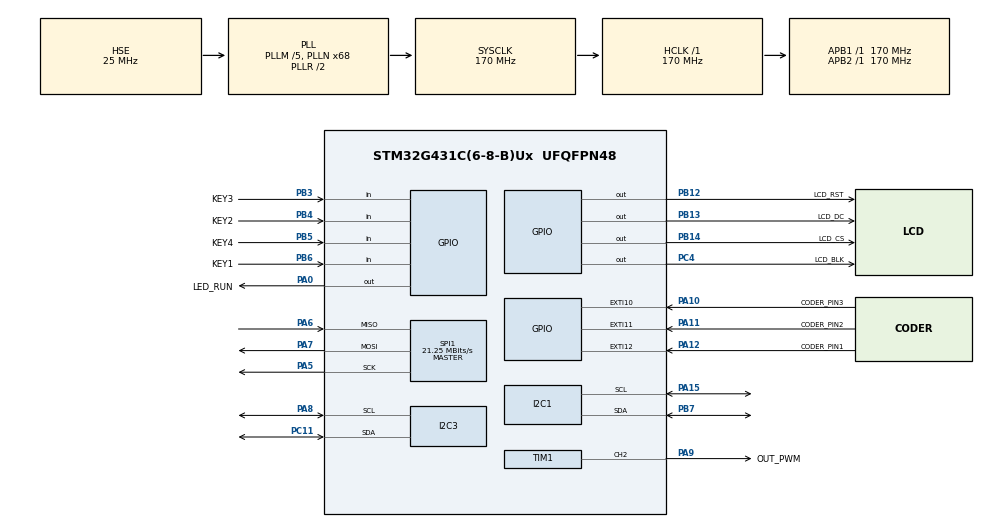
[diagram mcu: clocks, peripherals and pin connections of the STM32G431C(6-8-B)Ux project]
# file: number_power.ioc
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Dma.I2C1_RX.4.Direction=DMA_PERIPH_TO_MEMORY
Dma.I2C1_RX.4.EventEnable=DISABLE
Dma.I2C1_RX.4.Instance=DMA1_Channel5
Dma.I2C1_RX.4.MemDataAlignment=DMA_MDATAALIGN_BYTE
Dma.I2C1_RX.4.MemInc=DMA_MINC_ENABLE
Dma.I2C1_RX.4.Mode=DMA_NORMAL
Dma.I2C1_RX.4.PeriphDataAlignment=DMA_PDATAALIGN_BYTE
Dma.I2C1_RX.4.PeriphInc=DMA_PINC_DISABLE
Dma.I2C1_RX.4.Polarity=HAL_DMAMUX_REQ_GEN_RISING
Dma.I2C1_RX.4.Priority=DMA_PRIORITY_LOW
Dma.I2C1_RX.4.RequestNumber=1
Dma.I2C1_RX.4.SignalID=NONE
Dma.I2C1_RX.4.SyncEnable=DISABLE
Dma.I2C1_RX.4.SyncPolarity=HAL_DMAMUX_SYNC_NO_EVENT
Dma.I2C1_RX.4.SyncRequestNumber=1
Dma.I2C1_RX.4.SyncSignalID=NONE
Dma.I2C1_TX.5.Direction=DMA_MEMORY_TO_PERIPH
Dma.I2C1_TX.5.EventEnable=DISABLE
Dma.I2C1_TX.5.Instance=DMA1_Channel6
Dma.I2C1_TX.5.MemDataAlignment=DMA_MDATAALIGN_BYTE
Dma.I2C1_TX.5.MemInc=DMA_MINC_ENABLE
Dma.I2C1_TX.5.Mode=DMA_NORMAL
Dma.I2C1_TX.5.PeriphDataAlignment=DMA_PDATAALIGN_BYTE
Dma.I2C1_TX.5.PeriphInc=DMA_PINC_DISABLE
Dma.I2C1_TX.5.Polarity=HAL_DMAMUX_REQ_GEN_RISING
Dma.I2C1_TX.5.Priority=DMA_PRIORITY_LOW
Dma.I2C1_TX.5.RequestNumber=1
Dma.I2C1_TX.5.SignalID=NONE
Dma.I2C1_TX.5.SyncEnable=DISABLE
Dma.I2C1_TX.5.SyncPolarity=HAL_DMAMUX_SYNC_NO_EVENT
Dma.I2C1_TX.5.SyncRequestNumber=1
Dma.I2C1_TX.5.SyncSignalID=NONE
Dma.I2C3_RX.2.Direction=DMA_PERIPH_TO_MEMORY
Dma.I2C3_RX.2.EventEnable=DISABLE
Dma.I2C3_RX.2.Instance=DMA1_Channel3
Dma.I2C3_RX.2.MemDataAlignment=DMA_MDATAALIGN_BYTE
Dma.I2C3_RX.2.MemInc=DMA_MINC_ENABLE
Dma.I2C3_RX.2.Mode=DMA_NORMAL
Dma.I2C3_RX.2.PeriphDataAlignment=DMA_PDATAALIGN_BYTE
Dma.I2C3_RX.2.PeriphInc=DMA_PINC_DISABLE
Dma.I2C3_RX.2.Polarity=HAL_DMAMUX_REQ_GEN_RISING
Dma.I2C3_RX.2.Priority=DMA_PRIORITY_LOW
Dma.I2C3_RX.2.RequestNumber=1
Dma.I2C3_RX.2.SignalID=NONE
Dma.I2C3_RX.2.SyncEnable=DISABLE
Dma.I2C3_RX.2.SyncPolarity=HAL_DMAMUX_SYNC_NO_EVENT
Dma.I2C3_RX.2.SyncRequestNumber=1
Dma.I2C3_RX.2.SyncSignalID=NONE
Dma.I2C3_TX.3.Direction=DMA_MEMORY_TO_PERIPH
Dma.I2C3_TX.3.EventEnable=DISABLE
Dma.I2C3_TX.3.Instance=DMA1_Channel4
Dma.I2C3_TX.3.MemDataAlignment=DMA_MDATAALIGN_BYTE
Dma.I2C3_TX.3.MemInc=DMA_MINC_ENABLE
Dma.I2C3_TX.3.Mode=DMA_NORMAL
Dma.I2C3_TX.3.PeriphDataAlignment=DMA_PDATAALIGN_BYTE
Dma.I2C3_TX.3.PeriphInc=DMA_PINC_DISABLE
Dma.I2C3_TX.3.Polarity=HAL_DMAMUX_REQ_GEN_RISING
Dma.I2C3_TX.3.Priority=DMA_PRIORITY_LOW
Dma.I2C3_TX.3.RequestNumber=1
Dma.I2C3_TX.3.SignalID=NONE
Dma.I2C3_TX.3.SyncEnable=DISABLE
Dma.I2C3_TX.3.SyncPolarity=HAL_DMAMUX_SYNC_NO_EVENT
Dma.I2C3_TX.3.SyncRequestNumber=1
Dma.I2C3_TX.3.SyncSignalID=NONE
Dma.Request0=SPI1_RX
Dma.Request1=SPI1_TX
Dma.Request2=I2C3_RX
Dma.Request3=I2C3_TX
Dma.Request4=I2C1_RX
Dma.Request5=I2C1_TX
Dma.SPI1_RX.0.Direction=DMA_PERIPH_TO_MEMORY
Dma.SPI1_RX.0.EventEnable=DISABLE
Dma.SPI1_RX.0.Instance=DMA1_Channel1
Dma.SPI1_RX.0.MemDataAlignment=DMA_MDATAALIGN_BYTE
Dma.SPI1_RX.0.MemInc=DMA_MINC_ENABLE
Dma.SPI1_RX.0.Mode=DMA_NORMAL
Dma.SPI1_RX.0.PeriphDataAlignment=DMA_PDATAALIGN_BYTE
Dma.SPI1_RX.0.PeriphInc=DMA_PINC_DISABLE
Dma.SPI1_RX.0.Polarity=HAL_DMAMUX_REQ_GEN_RISING
Dma.SPI1_RX.0.Priority=DMA_PRIORITY_LOW
Dma.SPI1_RX.0.RequestNumber=1
Dma.SPI1_RX.0.SignalID=NONE
Dma.SPI1_RX.0.SyncEnable=DISABLE
Dma.SPI1_RX.0.SyncPolarity=HAL_DMAMUX_SYNC_NO_EVENT
Dma.SPI1_RX.0.SyncRequestNumber=1
Dma.SPI1_RX.0.SyncSignalID=NONE
Dma.SPI1_TX.1.Direction=DMA_MEMORY_TO_PERIPH
Dma.SPI1_TX.1.EventEnable=DISABLE
Dma.SPI1_TX.1.Instance=DMA1_Channel2
Dma.SPI1_TX.1.MemDataAlignment=DMA_MDATAALIGN_BYTE
Dma.SPI1_TX.1.MemInc=DMA_MINC_ENABLE
Dma.SPI1_TX.1.Mode=DMA_NORMAL
Dma.SPI1_TX.1.PeriphDataAlignment=DMA_PDATAALIGN_BYTE
Dma.SPI1_TX.1.PeriphInc=DMA_PINC_DISABLE
Dma.SPI1_TX.1.Polarity=HAL_DMAMUX_REQ_GEN_RISING
Dma.SPI1_TX.1.Priority=DMA_PRIORITY_LOW
Dma.SPI1_TX.1.RequestNumber=1
Dma.SPI1_TX.1.SignalID=NONE
Dma.SPI1_TX.1.SyncEnable=DISABLE
Dma.SPI1_TX.1.SyncPolarity=HAL_DMAMUX_SYNC_NO_EVENT
Dma.SPI1_TX.1.SyncRequestNumber=1
Dma.SPI1_TX.1.SyncSignalID=NONE
FREERTOS.Tasks01=defaultTask,0,128,StartDefaultTask,Default,NULL,Dynamic,NULL,NULL;myTask02,-3,128,StartTask02,Default,NULL,Dynamic,NULL,NULL
I2C1.Timing=0x40B285C2
I2C3.Timing=0x40B285C2
Mcu.Family=STM32G4
Mcu.Name=STM32G431C(6-8-B)Ux
Mcu.Package=UFQFPN48
NVIC.DMA1_Channel1_IRQn=true\:5\:0\:false\:false\:true\:true\:false\:true\:true
NVIC.DMA1_Channel2_IRQn=true\:5\:0\:false\:false\:true\:true\:false\:true\:true
NVIC.DMA1_Channel3_IRQn=true\:5\:0\:false\:false\:true\:true\:false\:true\:true
NVIC.DMA1_Channel4_IRQn=true\:5\:0\:false\:false\:true\:true\:false\:true\:true
NVIC.DMA1_Channel5_IRQn=true\:5\:0\:false\:false\:true\:true\:false\:true\:true
NVIC.DMA1_Channel6_IRQn=true\:5\:0\:false\:false\:true\:true\:false\:true\:true
NVIC.PriorityGroup=NVIC_PRIORITYGROUP_4
NVIC.TIM6_DAC_IRQn=true\:5\:0\:false\:false\:true\:true\:true\:true\:true
NVIC.TIM7_IRQn=true\:15\:0\:false\:false\:true\:false\:false\:true\:true
NVIC.TimeBase=TIM7_IRQn
NVIC.TimeBaseIP=TIM7
PA0.GPIO_Label=LED_RUN
PA0.Signal=GPIO_Output
PA10.GPIO_Label=CODER_PIN3
PA10.GPIO_ModeDefaultEXTI=GPIO_MODE_IT_FALLING
PA10.GPIO_PuPd=GPIO_PULLUP
PA10.Signal=GPXTI10
PA11.GPIO_Label=CODER_PIN2
PA11.GPIO_ModeDefaultEXTI=GPIO_MODE_IT_FALLING
PA11.GPIO_PuPd=GPIO_PULLUP
PA11.Signal=GPXTI11
PA12.GPIO_Label=CODER_PIN1
PA12.GPIO_ModeDefaultEXTI=GPIO_MODE_IT_FALLING
PA12.GPIO_PuPd=GPIO_PULLUP
PA12.Signal=GPXTI12
PA13.Mode=Serial_Wire
PA13.Signal=SYS_JTMS-SWDIO
PA14.Mode=Serial_Wire
PA14.Signal=SYS_JTCK-SWCLK
PA15.Mode=I2C
PA15.Signal=I2C1_SCL
PA5.Mode=Full_Duplex_Master
PA5.Signal=SPI1_SCK
PA6.Mode=Full_Duplex_Master
PA6.Signal=SPI1_MISO
PA7.Mode=Full_Duplex_Master
PA7.Signal=SPI1_MOSI
PA8.Mode=I2C
PA8.Signal=I2C3_SCL
PA9.GPIO_Label=OUT_PWM
PA9.Signal=S_TIM1_CH2
PB12.GPIO_Label=LCD_RST
PB12.Signal=GPIO_Output
PB13.GPIO_Label=LCD_DC
PB13.Signal=GPIO_Output
PB14.GPIO_Label=LCD_CS
PB14.Signal=GPIO_Output
PB3.GPIO_Label=KEY3
PB3.GPIO_PuPd=GPIO_PULLUP
PB3.Signal=GPIO_Input
PB4.GPIO_Label=KEY2
PB4.GPIO_PuPd=GPIO_PULLUP
PB4.Signal=GPIO_Input
PB5.GPIO_Label=KEY4
PB5.GPIO_PuPd=GPIO_PULLUP
PB5.Signal=GPIO_Input
PB6.GPIO_Label=KEY1
PB6.GPIO_PuPd=GPIO_PULLUP
PB6.Signal=GPIO_Input
PB7.Mode=I2C
PB7.Signal=I2C1_SDA
PC11.Mode=I2C
PC11.Signal=I2C3_SDA
PC4.GPIO_Label=LCD_BLK
PC4.Signal=GPIO_Output
PF0-OSC_IN.Mode=HSE-External-Oscillator
PF0-OSC_IN.Signal=RCC_OSC_IN
PF1-OSC_OUT.Mode=HSE-External-Oscillator
PF1-OSC_OUT.Signal=RCC_OSC_OUT
ProjectManager.HeapSize=0x800
ProjectManager.StackSize=0x400
ProjectManager.TargetToolchain=MDK-ARM V5.32
RCC.ADC12Freq_Value=170000000
RCC.AHBFreq_Value=170000000
RCC.APB1Freq_Value=170000000
RCC.APB1TimFreq_Value=170000000
RCC.APB2Freq_Value=170000000
RCC.APB2TimFreq_Value=170000000
RCC.CortexFreq_Value=170000000
RCC.EXTERNAL_CLOCK_VALUE=12288000
RCC.HCLKFreq_Value=170000000
RCC.HSE_VALUE=25000000
RCC.HSI48_VALUE=48000000
RCC.HSI_VALUE=16000000
RCC.LSE_VALUE=32768
RCC.PLLM=RCC_PLLM_DIV5
RCC.PLLN=68
RCC.PLLSourceVirtual=RCC_PLLSOURCE_HSE
RCC.SYSCLKFreq_VALUE=170000000
RCC.SYSCLKSource=RCC_SYSCLKSOURCE_PLLCLK
RCC.USBFreq_Value=170000000
RCC.VCOOutputFreq_Value=340000000
SH.S_TIM1_CH2.0=TIM1_CH2,PWM Generation2 CH2
SPI1.BaudRatePrescaler=SPI_BAUDRATEPRESCALER_8
SPI1.CalculateBaudRate=21.25 MBits/s
SPI1.DataSize=SPI_DATASIZE_8BIT
SPI1.Direction=SPI_DIRECTION_2LINES
SPI1.Mode=SPI_MODE_MASTER
SPI1.VirtualType=VM_MASTER
STMicroelectronics.X-CUBE-TOUCHGFX.4.24.1.tgfx_block_size=2000
STMicroelectronics.X-CUBE-TOUCHGFX.4.24.1.tgfx_buffering_strategy=Partial
STMicroelectronics.X-CUBE-TOUCHGFX.4.24.1.tgfx_custom_height=320
STMicroelectronics.X-CUBE-TOUCHGFX.4.24.1.tgfx_custom_width=240
STMicroelectronics.X-CUBE-TOUCHGFX.4.24.1.tgfx_framebuffer_stride=Disabled
STMicroelectronics.X-CUBE-TOUCHGFX.4.24.1.tgfx_hardware_accelerator=dma_custom
STMicroelectronics.X-CUBE-TOUCHGFX.4.24.1.tgfx_number_of_blocks=2
STMicroelectronics.X-CUBE-TOUCHGFX.4.24.1.tgfx_oswrapper=CMSIS V2
STMicroelectronics.X-CUBE-TOUCHGFX.4.24.1.tgfx_partialfb_transmit_strategy=Enabled
STMicroelectronics.X-CUBE-TOUCHGFX.4.24.1.tgfx_pixel_format=RGB565\:16
STMicroelectronics.X-CUBE-TOUCHGFX.4.24.1_IsPackSelfContextualization=true
TIM1.Channel-PWM\ Generation2\ CH2=TIM_CHANNEL_2
TIM1.PeriodNoDither=4
TIM1.Prescaler=169
TIM6.PeriodNoDither=10-1
TIM6.Prescaler=17000-1
VP_CRC_VS_CRC.Mode=CRC_Activate
VP_FREERTOS_VS_CMSIS_V1.Mode=CMSIS_V1
VP_SYS_VS_DBSignals.Mode=DisableDeadBatterySignals
VP_SYS_VS_tim7.Mode=TIM7
VP_TIM1_VS_ClockSourceINT.Mode=Internal
VP_TIM6_VS_ClockSourceINT.Mode=Enable_Timer
board=custom

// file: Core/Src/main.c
/* USER CODE BEGIN Header */
/**
  ******************************************************************************
  * @file           : main.c
  * @brief          : Main program body
  ******************************************************************************
  * @attention
  *
  * Copyright (c) 2024 STMicroelectronics.
  * All rights reserved.
  *
  * This software is licensed under terms that can be found in the LICENSE file
  * in the root directory of this software component.
  * If no LICENSE file comes with this software, it is provided AS-IS.
  *
  ******************************************************************************
  */
/* USER CODE END Header */
#include "main.h"
#include "cmsis_os.h"
#include "crc.h"
#include "dma.h"
#include "i2c.h"
#include "spi.h"
#include "tim.h"
#include "gpio.h"

/* USER CODE BEGIN Includes */
#include "ili9341.h"
#include "lvgl.h"
#include "lv_port_disp_template.h"
#include "lv_port_indev_template.h"
/* USER CODE END Includes */

/* USER CODE BEGIN PV */
/* USER CODE END Header_StartDefaultTask */
//void StartDefaultTask(void *argument)
//{
//  /* USER CODE BEGIN StartDefaultTask */
//  /* Infinite loop */
//    lv_init();
//    lv_port_disp_init();
//
//    lv_obj_t* switch_obj = lv_switch_create(lv_scr_act());
//    lv_obj_set_size(switch_obj,120,60);
//    lv_obj_align(switch_obj,LV_ALIGN_CENTER,0,0);

//  for(;;)
//  {
//        lv_timer_handler();
//        osDelay(50);
//  }
//  /* USER CODE END StartDefaultTask */
//}
/* USER CODE END PV */

void SystemClock_Config(void);
void MX_FREERTOS_Init(void);

/* USER CODE BEGIN 0 */

/* PWM_SET */
/**
  * @brief  频率设置，单位HZ 范围0~65535
  * @param  占空比设置0~99
  * @retval 成功：1 失败0
  */
/* PWM_SET */
int Pwm_set(uint16_t period,uint16_t duty_ratio)
{
	uint16_t pwm_arr=0,pwm_ch=0;
	if(period >= 65535)
		return 0;
	if(duty_ratio>=100)
		return 0;
	pwm_arr=(uint16_t)(1000000/(float)period);
	pwm_ch = (uint16_t)(period*(duty_ratio/100.0));
 	TIM1->ARR= pwm_arr;
	__HAL_TIM_SetCompare(&htim1,TIM_CHANNEL_2,pwm_ch);
	return 1;
}
/* USER CODE END 0 */

int main(void)
{

  /* MCU Configuration--------------------------------------------------------*/

  /* Reset of all peripherals, Initializes the Flash interface and the Systick. */
  HAL_Init();

  /* Configure the system clock */
  SystemClock_Config();

  /* Initialize all configured peripherals */
  MX_GPIO_Init();
  MX_DMA_Init();
  MX_SPI1_Init();
  MX_I2C3_Init();
  MX_TIM1_Init();
  MX_I2C1_Init();
  MX_TIM6_Init();
  MX_CRC_Init();
  /* USER CODE BEGIN 2 */
  HAL_TIM_PWM_Start(&htim1,TIM_CHANNEL_2);
//  __HAL_TIM_SetCompare(&htim1,TIM_CHANNEL_2,2);
  Pwm_set(100,20);
  //ILI9341_Init();

////	for(uint16_t i=0;i<=12;i++)
////	{
////		ILI9341_FillScreen(ILI9341_RED);
////		ILI9341_FillScreen(ILI9341_BLUE);
////		ILI9341_FillScreen(ILI9341_GREEN);
////	}
////
//    lv_init();       //Initialise LVGL UI library
//
//    //*** must be initialized and returned *********
//    lv_display_t *display = lv_port_disp_init(); // Lcd_Init()
//    lv_port_indev_init();
//
//    /*Change the active screen's background color*/
//   lv_obj_t *screen = lv_display_get_screen_active(display);
//   lv_obj_set_style_bg_color(screen, lv_color_hex(0x001f) , LV_PART_MAIN);
//
//
//	lv_obj_t *label = lv_label_create(screen);
//    lv_label_set_text(label, "Hello");
//    lv_obj_set_style_text_color(label, lv_color_hex(0xffff), LV_PART_MAIN);
//    lv_obj_align(label, LV_ALIGN_CENTER, 0, 0);
  /* USER CODE END 2 */

  /* Call init function for freertos objects (in cmsis_os2.c) */
  MX_FREERTOS_Init();

  /* Start scheduler */
  osKernelStart();

  /* We should never get here as control is now taken by the scheduler */

  /* Infinite loop */
  /* USER CODE BEGIN WHILE */
  while (1)
  {
	  //lv_timer_handler();
	 // lv_timer_handler();
     // HAL_Delay(5);
//	  HAL_GPIO_TogglePin(LED_RUN_GPIO_Port,LED_RUN_Pin);
//	   HAL_Delay(500);
    /* USER CODE END WHILE */

  }
}

void SystemClock_Config(void)
{
  RCC_OscInitTypeDef RCC_OscInitStruct = {0};
  RCC_ClkInitTypeDef RCC_ClkInitStruct = {0};

  /** Configure the main internal regulator output voltage
  */
  HAL_PWREx_ControlVoltageScaling(PWR_REGULATOR_VOLTAGE_SCALE1_BOOST);

  /** Initializes the RCC Oscillators according to the specified parameters
  * in the RCC_OscInitTypeDef structure.
  */
  RCC_OscInitStruct.OscillatorType = RCC_OSCILLATORTYPE_HSE;
  RCC_OscInitStruct.HSEState = RCC_HSE_ON;
  RCC_OscInitStruct.PLL.PLLState = RCC_PLL_ON;
  RCC_OscInitStruct.PLL.PLLSource = RCC_PLLSOURCE_HSE;
  RCC_OscInitStruct.PLL.PLLM = RCC_PLLM_DIV5;
  RCC_OscInitStruct.PLL.PLLN = 68;
  RCC_OscInitStruct.PLL.PLLP = RCC_PLLP_DIV2;
  RCC_OscInitStruct.PLL.PLLQ = RCC_PLLQ_DIV2;
  RCC_OscInitStruct.PLL.PLLR = RCC_PLLR_DIV2;
  if (HAL_RCC_OscConfig(&RCC_OscInitStruct) != HAL_OK)
  {
    Error_Handler();
  }

  /** Initializes the CPU, AHB and APB buses clocks
  */
  RCC_ClkInitStruct.ClockType = RCC_CLOCKTYPE_HCLK|RCC_CLOCKTYPE_SYSCLK
                              |RCC_CLOCKTYPE_PCLK1|RCC_CLOCKTYPE_PCLK2;
  RCC_ClkInitStruct.SYSCLKSource = RCC_SYSCLKSOURCE_PLLCLK;
  RCC_ClkInitStruct.AHBCLKDivider = RCC_SYSCLK_DIV1;
  RCC_ClkInitStruct.APB1CLKDivider = RCC_HCLK_DIV1;
  RCC_ClkInitStruct.APB2CLKDivider = RCC_HCLK_DIV1;

  if (HAL_RCC_ClockConfig(&RCC_ClkInitStruct, FLASH_LATENCY_4) != HAL_OK)
  {
    Error_Handler();
  }
}

void HAL_TIM_PeriodElapsedCallback(TIM_HandleTypeDef *htim)
{
  if (htim->Instance == TIM7) {
    HAL_IncTick();
  }
}

void Error_Handler(void)
{
  __disable_irq();
  while (1)
  {
  }
}

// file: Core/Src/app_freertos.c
/* USER CODE BEGIN Header */
/**
  ******************************************************************************
  * File Name          : app_freertos.c
  * Description        : Code for freertos applications
  ******************************************************************************
  * @attention
  *
  * Copyright (c) 2024 STMicroelectronics.
  * All rights reserved.
  *
  * This software is licensed under terms that can be found in the LICENSE file
  * in the root directory of this software component.
  * If no LICENSE file comes with this software, it is provided AS-IS.
  *
  ******************************************************************************
  */
/* USER CODE END Header */

#include "FreeRTOS.h"
#include "task.h"
#include "main.h"
#include "cmsis_os.h"

osThreadId defaultTaskHandle;
osThreadId myTask02Handle;

void StartDefaultTask(void const * argument);
void StartTask02(void const * argument);

void MX_FREERTOS_Init(void); /* (MISRA C 2004 rule 8.1) */

void MX_FREERTOS_Init(void) {

  /* Create the thread(s) */
  /* definition and creation of defaultTask */
  osThreadDef(defaultTask, StartDefaultTask, osPriorityNormal, 0, 128);
  defaultTaskHandle = osThreadCreate(osThread(defaultTask), NULL);

  /* definition and creation of myTask02 */
  osThreadDef(myTask02, StartTask02, osPriorityIdle, 0, 128);
  myTask02Handle = osThreadCreate(osThread(myTask02), NULL);

}

void StartDefaultTask(void const * argument)
{
  /* USER CODE BEGIN StartDefaultTask */
  /* Infinite loop */
  for(;;)
  {
	  HAL_GPIO_TogglePin(LED_RUN_GPIO_Port,LED_RUN_Pin);
//	  for(int i=0;i<);
    osDelay(500);
  }
  /* USER CODE END StartDefaultTask */
}

void StartTask02(void const * argument)
{
  for(;;)
  {
    osDelay(1);
  }
}
